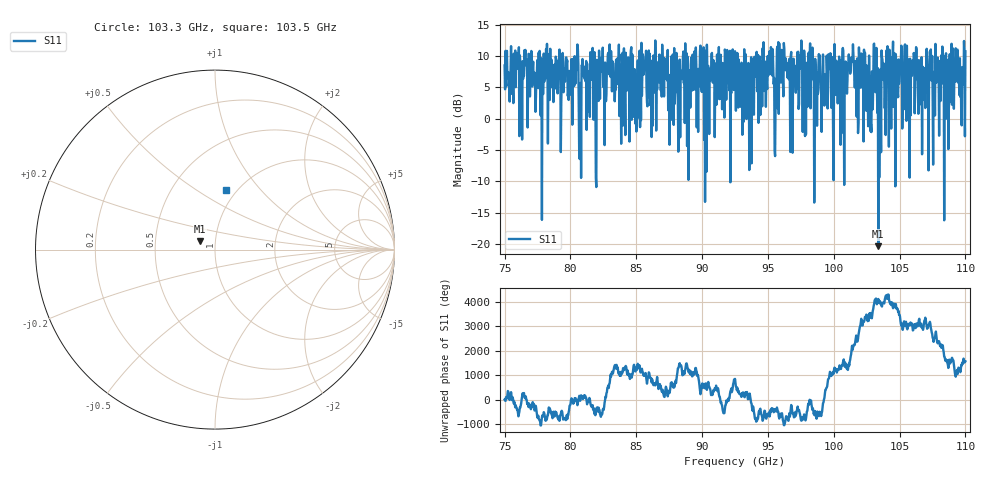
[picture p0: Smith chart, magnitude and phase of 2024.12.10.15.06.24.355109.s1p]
! Created with skrf (http://scikit-rf.org).
# GHz S RI R 50.0
!freq ReS11 ImS11
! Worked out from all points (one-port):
!   1001 points, 75 GHz to 110 GHz, reference 50 ohm
!   lowest |S11| = -20.3 dB at 103.4 GHz (marker M1), VSWR 1.21, Z = 42.1 + j4.07 ohm
!   |S11| at or under -10 dB: 77.82521 GHz to 77.8436 GHz (18.39 MHz wide, 0.0236 % of centre); 81.9431 GHz to 81.96655 GHz (23.45 MHz wide, 0.0286 % of centre); 90.22027 GHz to 90.23121 GHz (10.94 MHz wide, 0.0121 % of centre) (the widest 3 of 9)
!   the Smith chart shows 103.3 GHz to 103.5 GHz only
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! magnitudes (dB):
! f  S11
! 75 GHz  8.5
! 79.38 GHz  6.8
! 83.75 GHz  8.6
! 84.97 GHz  5.5
! 85.57 GHz  7.0
! 86.23 GHz  -1.2
! 87.14 GHz  9.6
! 88.12 GHz  4.4
! 92.5 GHz  10.7
! 93.76 GHz  -7.1
! 93.97 GHz  9.8
! 95.23 GHz  11.4
! 95.58 GHz  2.3
! 95.86 GHz  12.0
! 96.88 GHz  -5.4
! 98.24 GHz  1.7
! 98.62 GHz  8.3
! 99.75 GHz  10.4
! 100.7 GHz  11.3
! 101.2 GHz  7.2
! 102.8 GHz  -2.0
! 103.2 GHz  4.2
! 103.4 GHz  -20.3
! 104.4 GHz  9.7
! 105.6 GHz  9.5
! 108.2 GHz  10.1
! 108.6 GHz  0.0
! 110 GHz  10.7
